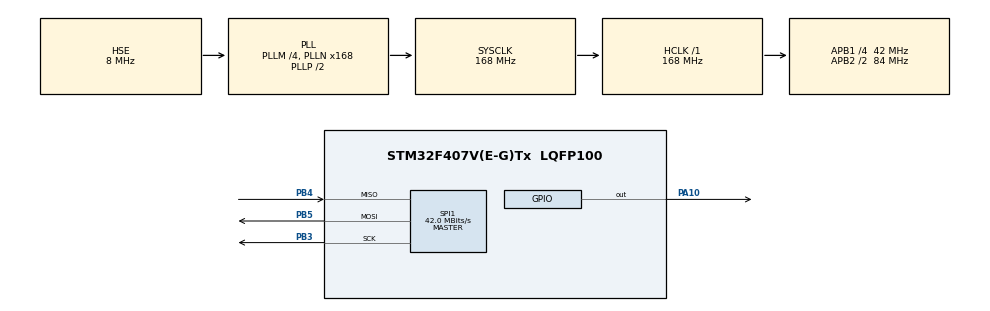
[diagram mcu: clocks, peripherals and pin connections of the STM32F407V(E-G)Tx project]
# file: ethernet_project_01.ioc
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Mcu.Family=STM32F4
Mcu.Name=STM32F407V(E-G)Tx
Mcu.Package=LQFP100
NVIC.PriorityGroup=NVIC_PRIORITYGROUP_4
PA10.GPIO_Speed=GPIO_SPEED_FREQ_LOW
PA10.Signal=GPIO_Output
PB3.Mode=Full_Duplex_Master
PB3.Signal=SPI1_SCK
PB4.Mode=Full_Duplex_Master
PB4.Signal=SPI1_MISO
PB5.Mode=Full_Duplex_Master
PB5.Signal=SPI1_MOSI
PH0-OSC_IN.Mode=HSE-External-Oscillator
PH0-OSC_IN.Signal=RCC_OSC_IN
PH1-OSC_OUT.Mode=HSE-External-Oscillator
PH1-OSC_OUT.Signal=RCC_OSC_OUT
ProjectManager.HeapSize=0x200
ProjectManager.StackSize=0x400
ProjectManager.TargetToolchain=STM32CubeIDE
RCC.48MHZClocksFreq_Value=84000000
RCC.AHBFreq_Value=168000000
RCC.APB1CLKDivider=RCC_HCLK_DIV4
RCC.APB1Freq_Value=42000000
RCC.APB1TimFreq_Value=84000000
RCC.APB2CLKDivider=RCC_HCLK_DIV2
RCC.APB2Freq_Value=84000000
RCC.APB2TimFreq_Value=168000000
RCC.CortexFreq_Value=168000000
RCC.HCLKFreq_Value=168000000
RCC.HSE_VALUE=8000000
RCC.HSI_VALUE=16000000
RCC.LSE_VALUE=32768
RCC.PLLM=4
RCC.PLLN=168
RCC.PLLSourceVirtual=RCC_PLLSOURCE_HSE
RCC.SYSCLKFreq_VALUE=168000000
RCC.SYSCLKSource=RCC_SYSCLKSOURCE_PLLCLK
RCC.VCOOutputFreq_Value=336000000
SPI1.CalculateBaudRate=42.0 MBits/s
SPI1.Direction=SPI_DIRECTION_2LINES
SPI1.Mode=SPI_MODE_MASTER
SPI1.VirtualType=VM_MASTER
board=custom

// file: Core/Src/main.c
/* USER CODE BEGIN Header */
/**
  ******************************************************************************
  * @file           : main.c
  * @brief          : Main program body
  ******************************************************************************
  * @attention
  *
  * Copyright (c) 2022 STMicroelectronics.
  * All rights reserved.
  *
  * This software is licensed under terms that can be found in the LICENSE file
  * in the root directory of this software component.
  * If no LICENSE file comes with this software, it is provided AS-IS.
  *
  ******************************************************************************
  */
/* USER CODE END Header */
#include "main.h"
#include "string.h"
#include "stm32f4xx_hal.h"
#include "wizchip_conf.h"
#include "socket.h"
#include "loopback.h"

SPI_HandleTypeDef hspi1;

void SystemClock_Config(void);
static void MX_GPIO_Init(void);
static void MX_SPI1_Init(void);

/* USER CODE BEGIN 0 */

void cs_sel() {
	HAL_GPIO_WritePin(GPIOA, GPIO_PIN_10, GPIO_PIN_RESET); //CS LOW
}

void cs_desel() {
	HAL_GPIO_WritePin(GPIOA, GPIO_PIN_10, GPIO_PIN_SET); //CS HIGH
}

uint8_t spi_rb(void) {
	uint8_t rbuf;
	HAL_SPI_Receive(&hspi1, &rbuf, 1, 0xFFFFFFFF);
	return rbuf;
}

void spi_wb(uint8_t b) {
	HAL_SPI_Transmit(&hspi1, &b, 1, 0xFFFFFFFF);
}
/* USER CODE END 0 */

int main(void)
{
  /* USER CODE BEGIN 1 */

	  uint8_t rcvBuf[20], bufSize[] = {2, 2, 2, 2};
  /* USER CODE END 1 */

  /* MCU Configuration--------------------------------------------------------*/

  /* Reset of all peripherals, Initializes the Flash interface and the Systick. */
  HAL_Init();

  /* Configure the system clock */
  SystemClock_Config();

  /* Initialize all configured peripherals */
  MX_GPIO_Init();
  MX_SPI1_Init();
  /* USER CODE BEGIN 2 */
  reg_wizchip_cs_cbfunc(cs_sel, cs_desel);
  reg_wizchip_spi_cbfunc(spi_rb, spi_wb);

  wizchip_init(bufSize, bufSize);
    wiz_NetInfo netInfo = { .mac 	= {0x00, 0x08, 0xdc, 0xab, 0xcd, 0xef},	// Mac address
                            .ip 	= {192, 168, 1, 45},					// IP address
                            .sn 	= {255, 255, 255, 0},					// Subnet mask
                            .gw 	= {192, 168, 2, 1}};					// Gateway address
    wizchip_setnetinfo(&netInfo);
    wizchip_getnetinfo(&netInfo);
uint8_t s =0;
uint8_t serverip[4] = {192,168,1,104};
uint8_t baglan;
uint8_t gidenler[] = "Enes Keskin";
uint8_t gidenler_lenght = 11;
uint16_t received_len;
uint8_t RSR_len;
uint8_t data_buf[30];
uint8_t kop;
  /* USER CODE END 2 */

  /* Infinite loop */
  /* USER CODE BEGIN WHILE */
  while (1)
  {
socket(s, Sn_MR_TCP, 5656, SF_TCP_NODELAY);
while(baglan != SOCK_OK){

baglan = connect(s, serverip, 5656);

}
baglan =0;

send(s, gidenler, gidenler_lenght);

while(received_len==0){

if( (RSR_len = getSn_RX_RSR(s)) >0){

received_len = recv(s, data_buf, RSR_len);
}

}
while(SOCK_OK == kop)
{
kop = close(s);
kop =0;
}
HAL_Delay(2500);
received_len = 0;

    /* USER CODE END WHILE */

  }
}

void SystemClock_Config(void)
{
  RCC_OscInitTypeDef RCC_OscInitStruct = {0};
  RCC_ClkInitTypeDef RCC_ClkInitStruct = {0};

  /** Configure the main internal regulator output voltage
  */
  __HAL_RCC_PWR_CLK_ENABLE();
  __HAL_PWR_VOLTAGESCALING_CONFIG(PWR_REGULATOR_VOLTAGE_SCALE1);
  /** Initializes the RCC Oscillators according to the specified parameters
  * in the RCC_OscInitTypeDef structure.
  */
  RCC_OscInitStruct.OscillatorType = RCC_OSCILLATORTYPE_HSE;
  RCC_OscInitStruct.HSEState = RCC_HSE_ON;
  RCC_OscInitStruct.PLL.PLLState = RCC_PLL_ON;
  RCC_OscInitStruct.PLL.PLLSource = RCC_PLLSOURCE_HSE;
  RCC_OscInitStruct.PLL.PLLM = 4;
  RCC_OscInitStruct.PLL.PLLN = 168;
  RCC_OscInitStruct.PLL.PLLP = RCC_PLLP_DIV2;
  RCC_OscInitStruct.PLL.PLLQ = 4;
  if (HAL_RCC_OscConfig(&RCC_OscInitStruct) != HAL_OK)
  {
    Error_Handler();
  }
  /** Initializes the CPU, AHB and APB buses clocks
  */
  RCC_ClkInitStruct.ClockType = RCC_CLOCKTYPE_HCLK|RCC_CLOCKTYPE_SYSCLK
                              |RCC_CLOCKTYPE_PCLK1|RCC_CLOCKTYPE_PCLK2;
  RCC_ClkInitStruct.SYSCLKSource = RCC_SYSCLKSOURCE_PLLCLK;
  RCC_ClkInitStruct.AHBCLKDivider = RCC_SYSCLK_DIV1;
  RCC_ClkInitStruct.APB1CLKDivider = RCC_HCLK_DIV4;
  RCC_ClkInitStruct.APB2CLKDivider = RCC_HCLK_DIV2;

  if (HAL_RCC_ClockConfig(&RCC_ClkInitStruct, FLASH_LATENCY_5) != HAL_OK)
  {
    Error_Handler();
  }
}

static void MX_SPI1_Init(void)
{

  /* SPI1 parameter configuration*/
  hspi1.Instance = SPI1;
  hspi1.Init.Mode = SPI_MODE_MASTER;
  hspi1.Init.Direction = SPI_DIRECTION_2LINES;
  hspi1.Init.DataSize = SPI_DATASIZE_8BIT;
  hspi1.Init.CLKPolarity = SPI_POLARITY_LOW;
  hspi1.Init.CLKPhase = SPI_PHASE_1EDGE;
  hspi1.Init.NSS = SPI_NSS_SOFT;
  hspi1.Init.BaudRatePrescaler = SPI_BAUDRATEPRESCALER_2;
  hspi1.Init.FirstBit = SPI_FIRSTBIT_MSB;
  hspi1.Init.TIMode = SPI_TIMODE_DISABLE;
  hspi1.Init.CRCCalculation = SPI_CRCCALCULATION_DISABLE;
  hspi1.Init.CRCPolynomial = 10;
  if (HAL_SPI_Init(&hspi1) != HAL_OK)
  {
    Error_Handler();
  }

}

static void MX_GPIO_Init(void)
{
  GPIO_InitTypeDef GPIO_InitStruct = {0};

  /* GPIO Ports Clock Enable */
  __HAL_RCC_GPIOH_CLK_ENABLE();
  __HAL_RCC_GPIOA_CLK_ENABLE();
  __HAL_RCC_GPIOB_CLK_ENABLE();

  /*Configure GPIO pin Output Level */
  HAL_GPIO_WritePin(GPIOA, GPIO_PIN_10, GPIO_PIN_RESET);

  /*Configure GPIO pin : PA10 */
  GPIO_InitStruct.Pin = GPIO_PIN_10;
  GPIO_InitStruct.Mode = GPIO_MODE_OUTPUT_PP;
  GPIO_InitStruct.Pull = GPIO_NOPULL;
  GPIO_InitStruct.Speed = GPIO_SPEED_FREQ_LOW;
  HAL_GPIO_Init(GPIOA, &GPIO_InitStruct);

}

void Error_Handler(void)
{
  __disable_irq();
  while (1)
  {
  }
}
